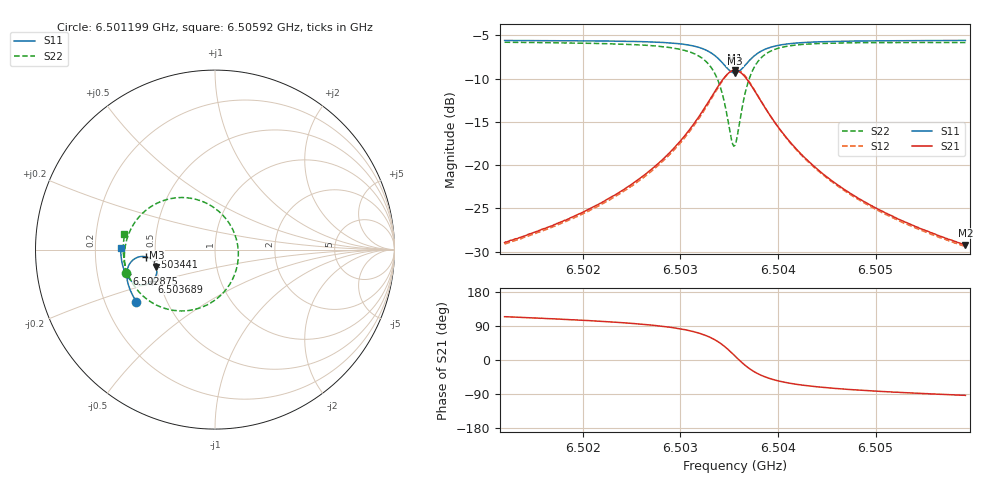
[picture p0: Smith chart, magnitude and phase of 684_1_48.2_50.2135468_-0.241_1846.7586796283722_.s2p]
#  HZ  S  RI  R  50.00
! Rohde & Schwarz Vector Network Analyzer
! Rohde-Schwarz,ZNB20-2Port,1311601062101988,3.16
! Created: UTC 3/20/2024, 12:06:45 PM
! freq[Hz]  re:S11  im:S11  re:S21  im:S21  re:S12  im:S12  re:S22  im:S22
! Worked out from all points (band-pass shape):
!   401 points, 6.501199 GHz to 6.50592 GHz, reference 50 ohm
!   highest |S21| = -9.04 dB at 6.50356 GHz (marker M1); lowest = -29.2 dB at 6.50592 GHz (marker M2)
!   |S21| within 3 dB of the highest: 6.503323 GHz to 6.503795 GHz (471.6 kHz wide, 0.00725 % of centre)
!   lowest |S11| = -9.4 dB at 6.50356 GHz (marker M3), VSWR 2.03, Z = 25 - j5.45 ohm
!   |S11| at or under -10 dB: nowhere
!   |S22| runs from -17.8 to -5.8 dB; largest |S21 - S12| = 0.014
!   S11 on the Smith chart (normalised r, x): 6.501199 GHz: 0.34, -0.27; 6.502875 GHz: 0.33, -0.12; 6.503441 GHz: 0.45, -0.04; 6.503689 GHz: 0.46, -0.19; 6.50592 GHz: 0.31, +0.01
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6.5011988e9  -0.4385 -0.29  -0.0146 0.0325  -0.0126 0.0326  -0.496 -0.1331
6.5019896e9  -0.4705 -0.2295  -0.0136 0.0512  -0.0109 0.0507  -0.5052 -0.0452
6.5024264e9  -0.4846 -0.1892  -0.0102 0.0719  -0.00665 0.0706  -0.4996 0.0207
6.5027805e9  -0.4915 -0.148  -3.45e-05 0.103  0.00428 0.1004  -0.4768 0.097
6.5028749e9  -0.4916 -0.1344  0.0059 0.1158  0.0102 0.1124  -0.4638 0.1238
6.5030756e9  -0.4856 -0.0999  0.0311 0.1524  0.0355 0.1473  -0.4115 0.1947
6.5032172e9  -0.4686 -0.0695  0.0733 0.1875  0.0768 0.1807  -0.3305 0.2547
6.5033471e9  -0.4306 -0.0428  0.154 0.2134  0.1556 0.2059  -0.1836 0.2901
6.5034415e9  -0.3818 -0.0412  0.2492 0.1947  0.2502 0.1886  -0.0188 0.2425
6.5035241e9  -0.3377 -0.0729  0.3298 0.1156  0.333 0.1093  0.1098 0.0862
6.5035595e9  -0.3267 -0.0965  0.3473 0.0645  0.3515 0.0566  0.1299 -0.00989
6.5035831e9  -0.3241 -0.1136  0.3502 0.0282  0.3546 0.0191  0.1262 -0.0763
6.5036185e9  -0.3268 -0.1388  0.3417 -0.024  0.3453 -0.0353  0.0961 -0.1688
6.5036894e9  -0.3506 -0.1772  0.292 -0.1025  0.2908 -0.1164  -0.0211 -0.2953
6.5037838e9  -0.3932 -0.1971  0.2101 -0.1463  0.2037 -0.158  -0.1876 -0.3418
6.5038546e9  -0.4205 -0.1968  0.1605 -0.151  0.1524 -0.1601  -0.2798 -0.3276
6.5039372e9  -0.444 -0.1893  0.1187 -0.1443  0.1101 -0.1507  -0.3531 -0.2944
6.5041025e9  -0.4738 -0.1677  0.0692 -0.1222  0.0617 -0.125  -0.4333 -0.2244
6.5043504e9  -0.4963 -0.1363  0.0353 -0.0942  0.0296 -0.0948  -0.4818 -0.1446
6.5046927e9  -0.5114 -0.0989  0.0159 -0.0697  0.0119 -0.0693  -0.5043 -0.0699
6.5051412e9  -0.5208 -0.0562  0.00536 -0.0514  0.00256 -0.0507  -0.5115 -0.00196
6.5059203e9  -0.5258 0.0106  -0.00207 -0.0345  -0.00361 -0.0338  -0.5044 0.0842
